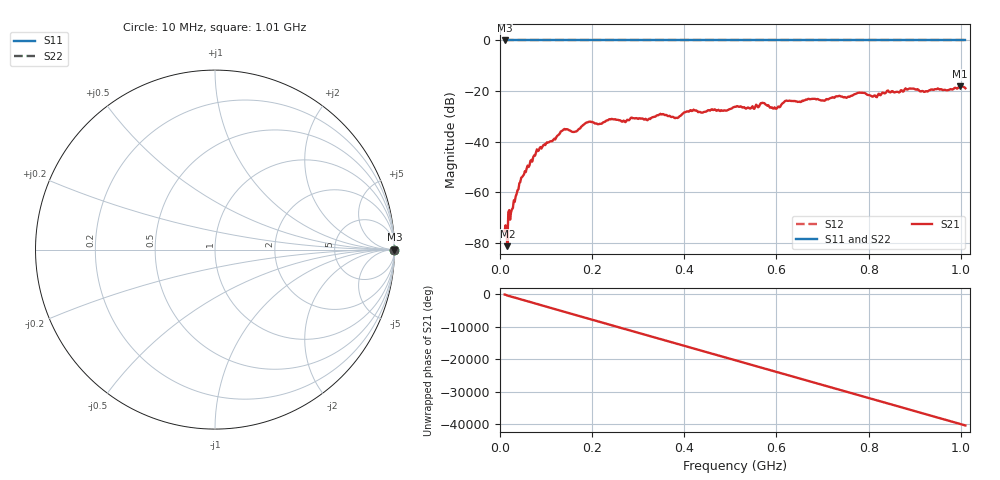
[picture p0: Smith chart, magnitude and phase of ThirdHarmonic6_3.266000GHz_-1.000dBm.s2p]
! 8/17/2025 10:05:36 AM
! C:\ANRITSUVNA\TEMP\TEMP.S2P
! CHANNEL.1
! TR.MEASUREMENT
! RAW.DATA
! RF.CORRECTION.OFF
! AVERAGING.OFF
! IF.BANDWIDTH: 5KHZ
! SWEEPTYPE:  FREQ.SWEEP(Linear)
! Reference Plane Port Info
! PORT:  PORT1  PORT2
! DISTANCE:  0  m  0  m
! TIME:  0  s  0  s
! PHASE.OFFSET:  0  deg.  0  deg.
! LOSS:  0  dB  0  dB
! REF.LOSS:  0  dB  0  dB
! REF.FREQ:  0  Hz  0  Hz
! Power Info
! POWER:  -20  dBm  -20  dBm
! EFF.POWER:  -20  dBm  -20  dBm
! SOURCE.ATTEN:  0  dB  0  dB
! TEST.ATTEN:  0  dB  0  dB
# GHZ S RI R 50.0
! FREQ.GHZ  S11RE  S11IM  S21RE  S21IM  S12RE  S12IM  S22RE  S22IM
!; PortSelection: Port_12
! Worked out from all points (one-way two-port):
!   501 points, 10 MHz to 1.01 GHz, reference 50 ohm
!   highest |S21| = -18.12 dB at 998 MHz (marker M1); lowest = -81.4 dB at 16 MHz (marker M2)
!   lowest |S11| = 0.0 dB at 10 MHz (marker M3)
!   |S11| at or under -10 dB: nowhere
!   |S22| runs from 0.0 to 0.0 dB; largest |S21 - S12| = 1.1
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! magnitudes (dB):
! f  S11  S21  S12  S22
! 10 MHz  0.0  -75.5  0.0  0.0
! 12 MHz  0.0  -73.1  0.0  0.0
! 16 MHz  0.0  -81.4  0.0  0.0
! 46 MHz  0.0  -54.3  0.0  0.0
! 82 MHz  0.0  -43.8  0.0  0.0
! 136 MHz  0.0  -35.6  0.0  0.0
! 162 MHz  0.0  -36.1  0.0  0.0
! 178 MHz  0.0  -33.8  0.0  0.0
! 344 MHz  0.0  -29.5  0.0  0.0
! 382 MHz  0.0  -30.6  0.0  0.0
! 416 MHz  0.0  -27.9  0.0  0.0
! 510 MHz  0.0  -26.2  0.0  0.0
! 548 MHz  0.0  -26.0  0.0  0.0
! 570 MHz  0.0  -24.7  0.0  0.0
! 596 MHz  0.0  -26.4  0.0  0.0
! 622 MHz  0.0  -23.8  0.0  0.0
! 678 MHz  0.0  -23.1  0.0  0.0
! 780 MHz  0.0  -20.6  0.0  0.0
! 814 MHz  0.0  -21.8  0.0  0.0
! 844 MHz  0.0  -20.3  0.0  0.0
! 998 MHz  0.0  -18.1  0.0  0.0
! 1.01 GHz  0.0  -18.9  0.0  0.0
